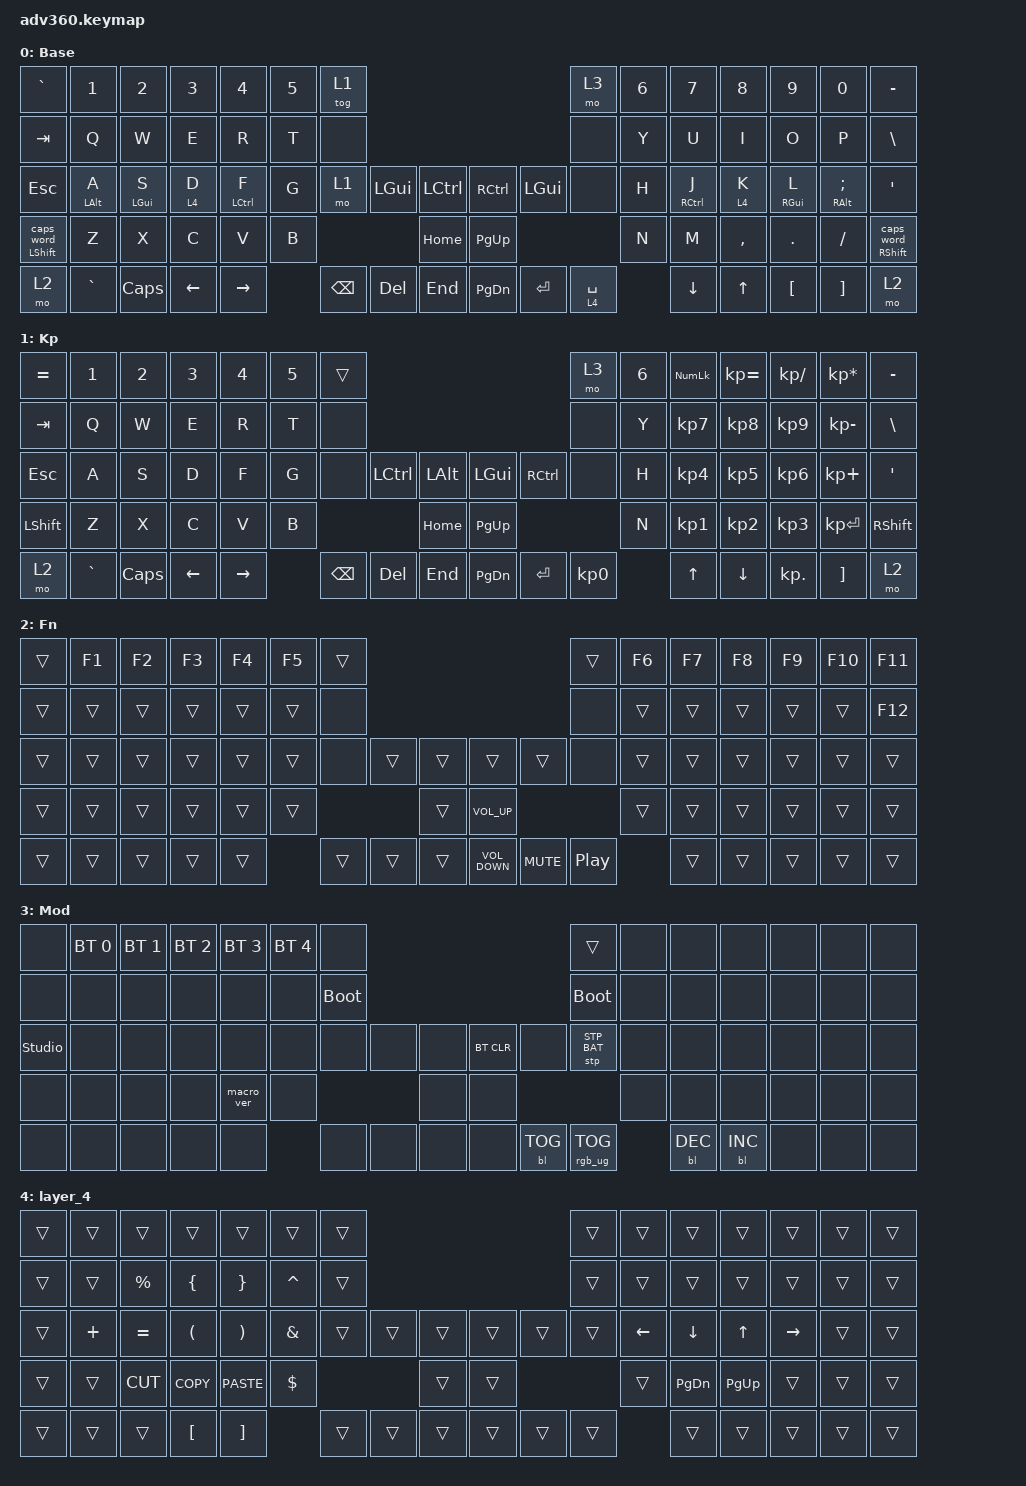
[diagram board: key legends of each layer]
#include <dt-bindings/zmk/stp.h>
#include <behaviors.dtsi>
#include <dt-bindings/zmk/backlight.h>
#include <dt-bindings/zmk/bt.h>
#include <dt-bindings/zmk/keys.h>
#include <dt-bindings/zmk/rgb.h>

/ {
    behaviors {
        #include "macros.dtsi"
      #include "version.dtsi"

        hml: hml {
            compatible = "zmk,behavior-hold-tap";
            label = "HML";
            #binding-cells = <2>;
            tapping-term-ms = <280>;
            flavor = "balanced";
            bindings = <&kp>, <&kp>;

            require-prior-idle-ms = <150>;
            hold-trigger-key-positions = <37 38 53 68 69 70 7 8 10 9 11 12 13 27 26 25 24 23 22 21 39 40 41 42 43 44 45 54 55 56 57 58 71 73 56 57 58 59 72 73 74 75>;
            hold-trigger-on-release;
        };

        hmy: hmy {
            compatible = "zmk,behavior-hold-tap";
            label = "HMY";
            #binding-cells = <2>;
            tapping-term-ms = <280>;
            flavor = "balanced";
            bindings = <&mo>, <&kp>;

            require-prior-idle-ms = <150>;
        };

        hmr: hmr {
            compatible = "zmk,behavior-hold-tap";
            label = "HMR";
            #binding-cells = <2>;
            tapping-term-ms = <280>;
            flavor = "balanced";
            bindings = <&kp>, <&kp>;

            require-prior-idle-ms = <150>;
            hold-trigger-key-positions = <0 1 2 3 4 5 6 14 15 16 17 18 19 20 28 29 30 31 32 33 34 35 36 46 47 48 49 50 51 52 60 61 62 63 64 65 66 67>;
            hold-trigger-on-release;
        };

        hmyl: hmyl {
            compatible = "zmk,behavior-hold-tap";
            label = "HMYL";
            #binding-cells = <2>;
            tapping-term-ms = <280>;
            flavor = "balanced";
            bindings = <&mo>, <&kp>;

            require-prior-idle-ms = <150>;
            hold-trigger-key-positions = <12 13 21 22 23 24 25 26 27 37 38 39 40 41 42 43 44 45 53 54 55 56 57 58 59 68 69 70 71 72 73 74 75 7 8 9 10 11 21 22 23 24 25>;
            hold-trigger-on-release;
        };

        hmyr: hmyr {
            compatible = "zmk,behavior-hold-tap";
            label = "HMYR";
            #binding-cells = <2>;
            tapping-term-ms = <280>;
            flavor = "balanced";
            bindings = <&mo>, <&kp>;

            require-prior-idle-ms = <150>;
            hold-trigger-key-positions = <0 1 2 3 4 5 6 14 15 16 17 18 19 20 28 29 30 31 32 33 34 35 36 46 47 48 49 50 51 52 60 61 62 63 64 65 66 67>;
            hold-trigger-on-release;
        };

        shft_wrd: shft_wrd {
            compatible = "zmk,behavior-hold-tap";
            label = "SHFT_WRD";
            #binding-cells = <2>;
            tapping-term-ms = <200>;
            flavor = "hold-preferred";
            bindings = <&kp>, <&caps_word>;
        };
    };

    keymap {
        compatible = "zmk,keymap";

        default_layer {
            display-name = "Base";
            bindings = <
&kp GRAVE          &kp N1           &kp N2           &kp N3     &kp N4               &kp N5  &tog 1                                                                              &mo 3         &kp N6  &kp N7                &kp N8        &kp N9            &kp N0               &kp MINUS
&kp TAB            &kp Q            &kp W            &kp E      &kp R                &kp T   &none                                                                               &none         &kp Y   &kp U                 &kp I         &kp O             &kp P                &kp BSLH
&kp ESC            &hml LEFT_ALT A  &hml LEFT_GUI S  &hmyl 4 D  &hml LEFT_CONTROL F  &kp G   &mo 1          &kp LEFT_GUI  &kp LEFT_CONTROL      &kp RIGHT_CONTROL  &kp LEFT_GUI  &none         &kp H   &hmr RIGHT_CONTROL J  &hmyr 4 K     &hmr RIGHT_GUI L  &hmr RIGHT_ALT SEMI  &kp SQT
&shft_wrd LSHFT 0  &kp Z            &kp X            &kp C      &kp V                &kp B                                &kp HOME              &kp PG_UP                                      &kp N   &kp M                 &kp COMMA     &kp DOT           &kp FSLH             &shft_wrd RSHFT 0
&mo 2              &kp GRAVE        &kp CAPS         &kp LEFT   &kp RIGHT                    &kp BACKSPACE  &kp DEL       &kp END               &kp PG_DN          &kp ENTER     &hmy 4 SPACE          &kp DOWN_ARROW        &kp UP_ARROW  &kp LBKT          &kp RBKT             &mo 2
            >;
        };

        keypad {
            display-name = "Kp";
            bindings = <
&kp EQUAL  &kp N1     &kp N2    &kp N3    &kp N4     &kp N5  &trans                                                   &mo 3      &kp N6  &kp KP_NUM  &kp KP_EQUAL  &kp KP_DIVIDE  &kp KP_MULTIPLY  &kp MINUS
&kp TAB    &kp Q      &kp W     &kp E     &kp R      &kp T   &none                                                    &none      &kp Y   &kp KP_N7   &kp KP_N8     &kp KP_N9      &kp KP_MINUS     &kp BSLH
&kp ESC    &kp A      &kp S     &kp D     &kp F      &kp G   &none     &kp LCTRL  &kp LALT      &kp LGUI   &kp RCTRL  &none      &kp H   &kp KP_N4   &kp KP_N5     &kp KP_N6      &kp KP_PLUS      &kp SQT
&kp LSHFT  &kp Z      &kp X     &kp C     &kp V      &kp B                        &kp HOME      &kp PG_UP                        &kp N   &kp KP_N1   &kp KP_N2     &kp KP_N3      &kp KP_ENTER     &kp RSHFT
&mo 2      &kp GRAVE  &kp CAPS  &kp LEFT  &kp RIGHT          &kp BSPC  &kp DEL    &kp END       &kp PG_DN  &kp ENTER  &kp KP_N0          &kp UP      &kp DOWN      &kp KP_DOT     &kp RBKT         &mo 2
            >;
        };

        fn {
            display-name = "Fn";
            bindings = <
&trans  &kp F1  &kp F2  &kp F3  &kp F4  &kp F5  &trans                                                     &trans            &kp F6  &kp F7  &kp F8  &kp F9  &kp F10  &kp F11
&trans  &trans  &trans  &trans  &trans  &trans  &none                                                      &none             &trans  &trans  &trans  &trans  &trans   &kp F12
&trans  &trans  &trans  &trans  &trans  &trans  &none   &trans  &trans      &trans             &trans      &none             &trans  &trans  &trans  &trans  &trans   &trans
&trans  &trans  &trans  &trans  &trans  &trans                  &trans      &kp C_VOLUME_UP                                  &trans  &trans  &trans  &trans  &trans   &trans
&trans  &trans  &trans  &trans  &trans          &trans  &trans  &trans      &kp C_VOLUME_DOWN  &kp C_MUTE  &kp C_PLAY_PAUSE          &trans  &trans  &trans  &trans   &trans
            >;
        };

        mod {
            display-name = "Mod";
            bindings = <
&none           &bt BT_SEL 0  &bt BT_SEL 1  &bt BT_SEL 2  &bt BT_SEL 3  &bt BT_SEL 4  &none                                                  &trans           &none  &none       &none       &none  &none  &none
&none           &none         &none         &none         &none         &none         &bootloader                                            &bootloader      &none  &none       &none       &none  &none  &none
&studio_unlock  &none         &none         &none         &none         &none         &none        &none  &none      &bt BT_CLR  &none       &stp STP_BAT     &none  &none       &none       &none  &none  &none
&none           &none         &none         &none         &macro_ver    &none                             &none      &none                                    &none  &none       &none       &none  &none  &none
&none           &none         &none         &none         &none                       &none        &none  &none      &none       &bl BL_TOG  &rgb_ug RGB_TOG         &bl BL_DEC  &bl BL_INC  &none  &none  &none
            >;
        };

        layer_4 {
            bindings = <
&trans  &trans    &trans       &trans                &trans                 &trans         &trans                                      &trans  &trans    &trans         &trans        &trans     &trans  &trans
&trans  &trans    &kp PERCENT  &kp LEFT_BRACE        &kp RIGHT_BRACE        &kp CARET      &trans                                      &trans  &trans    &trans         &trans        &trans     &trans  &trans
&trans  &kp PLUS  &kp EQUAL    &kp LEFT_PARENTHESIS  &kp RIGHT_PARENTHESIS  &kp AMPERSAND  &trans  &trans  &trans      &trans  &trans  &trans  &kp LEFT  &kp DOWN       &kp UP_ARROW  &kp RIGHT  &trans  &trans
&trans  &trans    &kp K_CUT    &kp K_COPY            &kp K_PASTE            &kp DOLLAR                     &trans      &trans                  &trans    &kp PAGE_DOWN  &kp PAGE_UP   &trans     &trans  &trans
&trans  &trans    &trans       &kp LEFT_BRACKET      &kp RIGHT_BRACKET                     &trans  &trans  &trans      &trans  &trans  &trans            &trans         &trans        &trans     &trans  &trans
            >;
        };
    };
};
